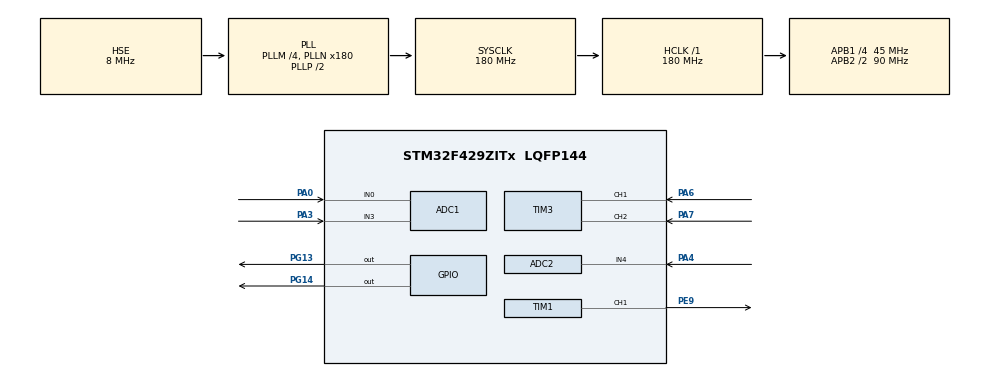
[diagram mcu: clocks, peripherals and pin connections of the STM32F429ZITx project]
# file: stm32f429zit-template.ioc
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ADC1.Channel-0\#ChannelRegularConversion=ADC_CHANNEL_0
ADC1.Channel-8\#ChannelRegularConversion=ADC_CHANNEL_3
ADC1.ContinuousConvMode=DISABLE
ADC1.DMAContinuousRequests=ENABLE
ADC1.EOCSelection=ADC_EOC_SINGLE_CONV
ADC1.ExternalTrigConv=ADC_EXTERNALTRIGCONV_T2_CC2
ADC1.ExternalTrigConvEdge=ADC_EXTERNALTRIGCONVEDGE_FALLING
ADC1.NbrOfConversion=2
ADC1.NbrOfConversionFlag=1
ADC1.Rank-0\#ChannelRegularConversion=1
ADC1.Rank-8\#ChannelRegularConversion=2
ADC1.SamplingTime-0\#ChannelRegularConversion=ADC_SAMPLETIME_15CYCLES
ADC1.SamplingTime-8\#ChannelRegularConversion=ADC_SAMPLETIME_15CYCLES
ADC1.master=1
ADC2.Channel-0\#ChannelRegularConversion=ADC_CHANNEL_4
ADC2.ContinuousConvMode=ENABLE
ADC2.DMAContinuousRequests=ENABLE
ADC2.NbrOfConversionFlag=1
ADC2.Rank-0\#ChannelRegularConversion=1
ADC2.SamplingTime-0\#ChannelRegularConversion=ADC_SAMPLETIME_15CYCLES
Dma.ADC1.0.Direction=DMA_PERIPH_TO_MEMORY
Dma.ADC1.0.FIFOMode=DMA_FIFOMODE_DISABLE
Dma.ADC1.0.Instance=DMA2_Stream0
Dma.ADC1.0.MemDataAlignment=DMA_MDATAALIGN_HALFWORD
Dma.ADC1.0.MemInc=DMA_MINC_ENABLE
Dma.ADC1.0.Mode=DMA_CIRCULAR
Dma.ADC1.0.PeriphDataAlignment=DMA_PDATAALIGN_HALFWORD
Dma.ADC1.0.PeriphInc=DMA_PINC_DISABLE
Dma.ADC1.0.Priority=DMA_PRIORITY_LOW
Dma.ADC2.1.Direction=DMA_PERIPH_TO_MEMORY
Dma.ADC2.1.FIFOMode=DMA_FIFOMODE_DISABLE
Dma.ADC2.1.Instance=DMA2_Stream2
Dma.ADC2.1.MemDataAlignment=DMA_MDATAALIGN_HALFWORD
Dma.ADC2.1.MemInc=DMA_MINC_ENABLE
Dma.ADC2.1.Mode=DMA_CIRCULAR
Dma.ADC2.1.PeriphDataAlignment=DMA_PDATAALIGN_HALFWORD
Dma.ADC2.1.PeriphInc=DMA_PINC_DISABLE
Dma.ADC2.1.Priority=DMA_PRIORITY_LOW
Dma.Request0=ADC1
Dma.Request1=ADC2
Mcu.Family=STM32F4
Mcu.Name=STM32F429ZITx
Mcu.Package=LQFP144
NVIC.ADC_IRQn=true\:0\:0\:false\:false\:true\:true\:true\:true
NVIC.DMA2_Stream0_IRQn=true\:0\:0\:false\:false\:true\:false\:true\:true
NVIC.DMA2_Stream2_IRQn=true\:0\:0\:false\:false\:true\:false\:true\:true
NVIC.PriorityGroup=NVIC_PRIORITYGROUP_4
NVIC.TIM2_IRQn=true\:0\:0\:false\:false\:true\:true\:true\:true
NVIC.TIM3_IRQn=true\:0\:0\:false\:false\:true\:true\:true\:true
NVIC.TIM7_IRQn=true\:0\:0\:false\:false\:true\:true\:true\:true
PA0/WKUP.Signal=ADCx_IN0
PA13.Mode=Serial_Wire
PA13.Signal=SYS_JTMS-SWDIO
PA14.Mode=Serial_Wire
PA14.Signal=SYS_JTCK-SWCLK
PA3.Signal=ADCx_IN3
PA4.Signal=ADCx_IN4
PA6.Signal=S_TIM3_CH1
PA7.Signal=S_TIM3_CH2
PE9.Signal=S_TIM1_CH1
PG13.Signal=GPIO_Output
PG14.Signal=GPIO_Output
PH0/OSC_IN.Mode=HSE-External-Oscillator
PH0/OSC_IN.Signal=RCC_OSC_IN
PH1/OSC_OUT.Mode=HSE-External-Oscillator
PH1/OSC_OUT.Signal=RCC_OSC_OUT
ProjectManager.HeapSize=0x200
ProjectManager.StackSize=0x400
ProjectManager.TargetToolchain=STM32CubeIDE
RCC.48MHZClocksFreq_Value=90000000
RCC.AHBFreq_Value=180000000
RCC.APB1CLKDivider=RCC_HCLK_DIV4
RCC.APB1Freq_Value=45000000
RCC.APB1TimFreq_Value=90000000
RCC.APB2CLKDivider=RCC_HCLK_DIV2
RCC.APB2Freq_Value=90000000
RCC.APB2TimFreq_Value=180000000
RCC.CortexFreq_Value=180000000
RCC.HCLKFreq_Value=180000000
RCC.HSE_VALUE=8000000
RCC.HSI_VALUE=16000000
RCC.LSE_VALUE=32768
RCC.PLLM=4
RCC.PLLN=180
RCC.PLLSourceVirtual=RCC_PLLSOURCE_HSE
RCC.SYSCLKFreq_VALUE=180000000
RCC.SYSCLKSource=RCC_SYSCLKSOURCE_PLLCLK
RCC.VCOOutputFreq_Value=360000000
SH.ADCx_IN0.0=ADC1_IN0,IN0
SH.ADCx_IN3.0=ADC1_IN3,IN3
SH.ADCx_IN4.0=ADC2_IN4,IN4
SH.S_TIM1_CH1.0=TIM1_CH1,PWM Generation1 CH1
SH.S_TIM3_CH1.0=TIM3_CH1,Encoder_Interface
SH.S_TIM3_CH2.0=TIM3_CH2,Encoder_Interface
TIM1.Channel-PWM\ Generation1\ CH1=TIM_CHANNEL_1
TIM1.CounterMode=TIM_COUNTERMODE_CENTERALIGNED1
TIM1.TIM_MasterOutputTrigger=TIM_TRGO_UPDATE
TIM1.TIM_MasterSlaveMode=TIM_MASTERSLAVEMODE_ENABLE
TIM2.Channel-PWM\ Generation2\ No\ Output=TIM_CHANNEL_2
TIM3.EncoderMode=TIM_ENCODERMODE_TI12
TIM3.IC1Filter=8
TIM3.IC2Filter=8
TIM7.Period=10-1
TIM7.Prescaler=8000-1
VP_TIM2_VS_ClockSourceITR.Mode=TriggerSource_ITR0
VP_TIM2_VS_ControllerModeReset.Mode=Reset Mode
VP_TIM2_VS_no_output2.Mode=PWM Generation2 No Output
VP_TIM7_VS_ClockSourceINT.Mode=Enable_Timer
board=custom

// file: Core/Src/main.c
/* USER CODE BEGIN Header */
/**
  ******************************************************************************
  * @file           : main.c
  * @brief          : Main program body
  ******************************************************************************
  * @attention
  *
  * Copyright (c) 2024 STMicroelectronics.
  * All rights reserved.
  *
  * This software is licensed under terms that can be found in the LICENSE file
  * in the root directory of this software component.
  * If no LICENSE file comes with this software, it is provided AS-IS.
  *
  ******************************************************************************
  */
/* USER CODE END Header */
#include "main.h"

/* USER CODE BEGIN PTD */
typedef struct
{
  float velocity;
  float angle;
  uint32_t capture_cnt;
  int dir;
} encoder_t;
/* USER CODE END PTD */

/* USER CODE BEGIN PD */
#define ENCODER_PPR 10
/* USER CODE END PD */

ADC_HandleTypeDef hadc1;
ADC_HandleTypeDef hadc2;
DMA_HandleTypeDef hdma_adc1;
DMA_HandleTypeDef hdma_adc2;

TIM_HandleTypeDef htim1;
TIM_HandleTypeDef htim2;
TIM_HandleTypeDef htim3;
TIM_HandleTypeDef htim7;

/* USER CODE BEGIN PV */
uint16_t adc1_values[2] = {0};
uint16_t adc2_value = 0;
uint16_t adc_sample_flag = 0;

encoder_t encoder = {0};
/* USER CODE END PV */

void SystemClock_Config(void);
static void MX_GPIO_Init(void);
static void MX_DMA_Init(void);
static void MX_TIM7_Init(void);
static void MX_TIM1_Init(void);
static void MX_ADC1_Init(void);
static void MX_ADC2_Init(void);
static void MX_TIM2_Init(void);
static void MX_TIM3_Init(void);

int main(void)
{

  /* MCU Configuration--------------------------------------------------------*/

  /* Reset of all peripherals, Initializes the Flash interface and the Systick. */
  HAL_Init();

  /* Configure the system clock */
  SystemClock_Config();

  /* Initialize all configured peripherals */
  MX_GPIO_Init();
  MX_DMA_Init();
  MX_TIM7_Init();
  MX_TIM1_Init();
  MX_ADC1_Init();
  MX_ADC2_Init();
  MX_TIM2_Init();
  MX_TIM3_Init();
  /* USER CODE BEGIN 2 */
  HAL_TIM_Base_Start_IT(&htim7);

  HAL_ADC_Start_DMA(&hadc1, (uint32_t*)adc1_values, 2);
  HAL_ADC_Start_DMA(&hadc2, (uint32_t*)&adc2_value, 1);

  TIM2->PSC = 8000 - 1;
  TIM2->CCR2 = 0xf;
  HAL_TIM_PWM_Start_IT(&htim2, TIM_CHANNEL_2);

  TIM1->PSC = 16000 - 1; // 10 KHz
  TIM1->ARR = 10000 - 1; // 1 Hz
  TIM1->CCR1 = (uint16_t)(0.25f * (float)TIM1->ARR);
  HAL_TIM_PWM_Start(&htim1, TIM_CHANNEL_1);
  /* USER CODE END 2 */

  /* Infinite loop */
  while (1)
  {

  }
}

void SystemClock_Config(void)
{
  RCC_OscInitTypeDef RCC_OscInitStruct = {0};
  RCC_ClkInitTypeDef RCC_ClkInitStruct = {0};

  /** Configure the main internal regulator output voltage
  */
  __HAL_RCC_PWR_CLK_ENABLE();
  __HAL_PWR_VOLTAGESCALING_CONFIG(PWR_REGULATOR_VOLTAGE_SCALE1);

  /** Initializes the RCC Oscillators according to the specified parameters
  * in the RCC_OscInitTypeDef structure.
  */
  RCC_OscInitStruct.OscillatorType = RCC_OSCILLATORTYPE_HSE;
  RCC_OscInitStruct.HSEState = RCC_HSE_ON;
  RCC_OscInitStruct.PLL.PLLState = RCC_PLL_ON;
  RCC_OscInitStruct.PLL.PLLSource = RCC_PLLSOURCE_HSE;
  RCC_OscInitStruct.PLL.PLLM = 4;
  RCC_OscInitStruct.PLL.PLLN = 180;
  RCC_OscInitStruct.PLL.PLLP = RCC_PLLP_DIV2;
  RCC_OscInitStruct.PLL.PLLQ = 4;
  if (HAL_RCC_OscConfig(&RCC_OscInitStruct) != HAL_OK)
  {
    Error_Handler();
  }

  /** Activate the Over-Drive mode
  */
  if (HAL_PWREx_EnableOverDrive() != HAL_OK)
  {
    Error_Handler();
  }

  /** Initializes the CPU, AHB and APB buses clocks
  */
  RCC_ClkInitStruct.ClockType = RCC_CLOCKTYPE_HCLK|RCC_CLOCKTYPE_SYSCLK
                              |RCC_CLOCKTYPE_PCLK1|RCC_CLOCKTYPE_PCLK2;
  RCC_ClkInitStruct.SYSCLKSource = RCC_SYSCLKSOURCE_PLLCLK;
  RCC_ClkInitStruct.AHBCLKDivider = RCC_SYSCLK_DIV1;
  RCC_ClkInitStruct.APB1CLKDivider = RCC_HCLK_DIV4;
  RCC_ClkInitStruct.APB2CLKDivider = RCC_HCLK_DIV2;

  if (HAL_RCC_ClockConfig(&RCC_ClkInitStruct, FLASH_LATENCY_5) != HAL_OK)
  {
    Error_Handler();
  }
}

static void MX_ADC1_Init(void)
{

  ADC_ChannelConfTypeDef sConfig = {0};

  /** Configure the global features of the ADC (Clock, Resolution, Data Alignment and number of conversion)
  */
  hadc1.Instance = ADC1;
  hadc1.Init.ClockPrescaler = ADC_CLOCK_SYNC_PCLK_DIV4;
  hadc1.Init.Resolution = ADC_RESOLUTION_12B;
  hadc1.Init.ScanConvMode = ENABLE;
  hadc1.Init.ContinuousConvMode = DISABLE;
  hadc1.Init.DiscontinuousConvMode = DISABLE;
  hadc1.Init.ExternalTrigConvEdge = ADC_EXTERNALTRIGCONVEDGE_FALLING;
  hadc1.Init.ExternalTrigConv = ADC_EXTERNALTRIGCONV_T2_CC2;
  hadc1.Init.DataAlign = ADC_DATAALIGN_RIGHT;
  hadc1.Init.NbrOfConversion = 2;
  hadc1.Init.DMAContinuousRequests = ENABLE;
  hadc1.Init.EOCSelection = ADC_EOC_SINGLE_CONV;
  if (HAL_ADC_Init(&hadc1) != HAL_OK)
  {
    Error_Handler();
  }

  /** Configure for the selected ADC regular channel its corresponding rank in the sequencer and its sample time.
  */
  sConfig.Channel = ADC_CHANNEL_0;
  sConfig.Rank = 1;
  sConfig.SamplingTime = ADC_SAMPLETIME_15CYCLES;
  if (HAL_ADC_ConfigChannel(&hadc1, &sConfig) != HAL_OK)
  {
    Error_Handler();
  }

  /** Configure for the selected ADC regular channel its corresponding rank in the sequencer and its sample time.
  */
  sConfig.Channel = ADC_CHANNEL_3;
  sConfig.Rank = 2;
  if (HAL_ADC_ConfigChannel(&hadc1, &sConfig) != HAL_OK)
  {
    Error_Handler();
  }

}

static void MX_ADC2_Init(void)
{

  ADC_ChannelConfTypeDef sConfig = {0};

  /** Configure the global features of the ADC (Clock, Resolution, Data Alignment and number of conversion)
  */
  hadc2.Instance = ADC2;
  hadc2.Init.ClockPrescaler = ADC_CLOCK_SYNC_PCLK_DIV4;
  hadc2.Init.Resolution = ADC_RESOLUTION_12B;
  hadc2.Init.ScanConvMode = DISABLE;
  hadc2.Init.ContinuousConvMode = ENABLE;
  hadc2.Init.DiscontinuousConvMode = DISABLE;
  hadc2.Init.ExternalTrigConvEdge = ADC_EXTERNALTRIGCONVEDGE_NONE;
  hadc2.Init.ExternalTrigConv = ADC_SOFTWARE_START;
  hadc2.Init.DataAlign = ADC_DATAALIGN_RIGHT;
  hadc2.Init.NbrOfConversion = 1;
  hadc2.Init.DMAContinuousRequests = ENABLE;
  hadc2.Init.EOCSelection = ADC_EOC_SINGLE_CONV;
  if (HAL_ADC_Init(&hadc2) != HAL_OK)
  {
    Error_Handler();
  }

  /** Configure for the selected ADC regular channel its corresponding rank in the sequencer and its sample time.
  */
  sConfig.Channel = ADC_CHANNEL_4;
  sConfig.Rank = 1;
  sConfig.SamplingTime = ADC_SAMPLETIME_15CYCLES;
  if (HAL_ADC_ConfigChannel(&hadc2, &sConfig) != HAL_OK)
  {
    Error_Handler();
  }

}

static void MX_TIM1_Init(void)
{

  TIM_MasterConfigTypeDef sMasterConfig = {0};
  TIM_OC_InitTypeDef sConfigOC = {0};
  TIM_BreakDeadTimeConfigTypeDef sBreakDeadTimeConfig = {0};

  htim1.Instance = TIM1;
  htim1.Init.Prescaler = 0;
  htim1.Init.CounterMode = TIM_COUNTERMODE_CENTERALIGNED1;
  htim1.Init.Period = 65535;
  htim1.Init.ClockDivision = TIM_CLOCKDIVISION_DIV1;
  htim1.Init.RepetitionCounter = 0;
  htim1.Init.AutoReloadPreload = TIM_AUTORELOAD_PRELOAD_DISABLE;
  if (HAL_TIM_PWM_Init(&htim1) != HAL_OK)
  {
    Error_Handler();
  }
  sMasterConfig.MasterOutputTrigger = TIM_TRGO_UPDATE;
  sMasterConfig.MasterSlaveMode = TIM_MASTERSLAVEMODE_ENABLE;
  if (HAL_TIMEx_MasterConfigSynchronization(&htim1, &sMasterConfig) != HAL_OK)
  {
    Error_Handler();
  }
  sConfigOC.OCMode = TIM_OCMODE_PWM1;
  sConfigOC.Pulse = 0;
  sConfigOC.OCPolarity = TIM_OCPOLARITY_HIGH;
  sConfigOC.OCNPolarity = TIM_OCNPOLARITY_HIGH;
  sConfigOC.OCFastMode = TIM_OCFAST_DISABLE;
  sConfigOC.OCIdleState = TIM_OCIDLESTATE_RESET;
  sConfigOC.OCNIdleState = TIM_OCNIDLESTATE_RESET;
  if (HAL_TIM_PWM_ConfigChannel(&htim1, &sConfigOC, TIM_CHANNEL_1) != HAL_OK)
  {
    Error_Handler();
  }
  sBreakDeadTimeConfig.OffStateRunMode = TIM_OSSR_DISABLE;
  sBreakDeadTimeConfig.OffStateIDLEMode = TIM_OSSI_DISABLE;
  sBreakDeadTimeConfig.LockLevel = TIM_LOCKLEVEL_OFF;
  sBreakDeadTimeConfig.DeadTime = 0;
  sBreakDeadTimeConfig.BreakState = TIM_BREAK_DISABLE;
  sBreakDeadTimeConfig.BreakPolarity = TIM_BREAKPOLARITY_HIGH;
  sBreakDeadTimeConfig.AutomaticOutput = TIM_AUTOMATICOUTPUT_DISABLE;
  if (HAL_TIMEx_ConfigBreakDeadTime(&htim1, &sBreakDeadTimeConfig) != HAL_OK)
  {
    Error_Handler();
  }
  HAL_TIM_MspPostInit(&htim1);

}

static void MX_TIM2_Init(void)
{

  TIM_SlaveConfigTypeDef sSlaveConfig = {0};
  TIM_MasterConfigTypeDef sMasterConfig = {0};
  TIM_OC_InitTypeDef sConfigOC = {0};

  htim2.Instance = TIM2;
  htim2.Init.Prescaler = 0;
  htim2.Init.CounterMode = TIM_COUNTERMODE_UP;
  htim2.Init.Period = 4294967295;
  htim2.Init.ClockDivision = TIM_CLOCKDIVISION_DIV1;
  htim2.Init.AutoReloadPreload = TIM_AUTORELOAD_PRELOAD_DISABLE;
  if (HAL_TIM_Base_Init(&htim2) != HAL_OK)
  {
    Error_Handler();
  }
  if (HAL_TIM_PWM_Init(&htim2) != HAL_OK)
  {
    Error_Handler();
  }
  sSlaveConfig.SlaveMode = TIM_SLAVEMODE_RESET;
  sSlaveConfig.InputTrigger = TIM_TS_ITR0;
  if (HAL_TIM_SlaveConfigSynchro(&htim2, &sSlaveConfig) != HAL_OK)
  {
    Error_Handler();
  }
  sMasterConfig.MasterOutputTrigger = TIM_TRGO_RESET;
  sMasterConfig.MasterSlaveMode = TIM_MASTERSLAVEMODE_DISABLE;
  if (HAL_TIMEx_MasterConfigSynchronization(&htim2, &sMasterConfig) != HAL_OK)
  {
    Error_Handler();
  }
  sConfigOC.OCMode = TIM_OCMODE_PWM1;
  sConfigOC.Pulse = 0;
  sConfigOC.OCPolarity = TIM_OCPOLARITY_HIGH;
  sConfigOC.OCFastMode = TIM_OCFAST_DISABLE;
  if (HAL_TIM_PWM_ConfigChannel(&htim2, &sConfigOC, TIM_CHANNEL_2) != HAL_OK)
  {
    Error_Handler();
  }

}

static void MX_TIM3_Init(void)
{

  TIM_Encoder_InitTypeDef sConfig = {0};
  TIM_MasterConfigTypeDef sMasterConfig = {0};

  htim3.Instance = TIM3;
  htim3.Init.Prescaler = 0;
  htim3.Init.CounterMode = TIM_COUNTERMODE_UP;
  htim3.Init.Period = 65535;
  htim3.Init.ClockDivision = TIM_CLOCKDIVISION_DIV1;
  htim3.Init.AutoReloadPreload = TIM_AUTORELOAD_PRELOAD_DISABLE;
  sConfig.EncoderMode = TIM_ENCODERMODE_TI12;
  sConfig.IC1Polarity = TIM_ICPOLARITY_RISING;
  sConfig.IC1Selection = TIM_ICSELECTION_DIRECTTI;
  sConfig.IC1Prescaler = TIM_ICPSC_DIV1;
  sConfig.IC1Filter = 8;
  sConfig.IC2Polarity = TIM_ICPOLARITY_RISING;
  sConfig.IC2Selection = TIM_ICSELECTION_DIRECTTI;
  sConfig.IC2Prescaler = TIM_ICPSC_DIV1;
  sConfig.IC2Filter = 8;
  if (HAL_TIM_Encoder_Init(&htim3, &sConfig) != HAL_OK)
  {
    Error_Handler();
  }
  sMasterConfig.MasterOutputTrigger = TIM_TRGO_RESET;
  sMasterConfig.MasterSlaveMode = TIM_MASTERSLAVEMODE_DISABLE;
  if (HAL_TIMEx_MasterConfigSynchronization(&htim3, &sMasterConfig) != HAL_OK)
  {
    Error_Handler();
  }

}

static void MX_TIM7_Init(void)
{

  TIM_MasterConfigTypeDef sMasterConfig = {0};

  htim7.Instance = TIM7;
  htim7.Init.Prescaler = 8000-1;
  htim7.Init.CounterMode = TIM_COUNTERMODE_UP;
  htim7.Init.Period = 10-1;
  htim7.Init.AutoReloadPreload = TIM_AUTORELOAD_PRELOAD_DISABLE;
  if (HAL_TIM_Base_Init(&htim7) != HAL_OK)
  {
    Error_Handler();
  }
  sMasterConfig.MasterOutputTrigger = TIM_TRGO_RESET;
  sMasterConfig.MasterSlaveMode = TIM_MASTERSLAVEMODE_DISABLE;
  if (HAL_TIMEx_MasterConfigSynchronization(&htim7, &sMasterConfig) != HAL_OK)
  {
    Error_Handler();
  }

}

static void MX_DMA_Init(void)
{

  /* DMA controller clock enable */
  __HAL_RCC_DMA2_CLK_ENABLE();

  /* DMA interrupt init */
  /* DMA2_Stream0_IRQn interrupt configuration */
  HAL_NVIC_SetPriority(DMA2_Stream0_IRQn, 0, 0);
  HAL_NVIC_EnableIRQ(DMA2_Stream0_IRQn);
  /* DMA2_Stream2_IRQn interrupt configuration */
  HAL_NVIC_SetPriority(DMA2_Stream2_IRQn, 0, 0);
  HAL_NVIC_EnableIRQ(DMA2_Stream2_IRQn);

}

static void MX_GPIO_Init(void)
{
  GPIO_InitTypeDef GPIO_InitStruct = {0};

  /* GPIO Ports Clock Enable */
  __HAL_RCC_GPIOH_CLK_ENABLE();
  __HAL_RCC_GPIOA_CLK_ENABLE();
  __HAL_RCC_GPIOE_CLK_ENABLE();
  __HAL_RCC_GPIOG_CLK_ENABLE();

  /*Configure GPIO pin Output Level */
  HAL_GPIO_WritePin(GPIOG, GPIO_PIN_13|GPIO_PIN_14, GPIO_PIN_RESET);

  /*Configure GPIO pins : PG13 PG14 */
  GPIO_InitStruct.Pin = GPIO_PIN_13|GPIO_PIN_14;
  GPIO_InitStruct.Mode = GPIO_MODE_OUTPUT_PP;
  GPIO_InitStruct.Pull = GPIO_NOPULL;
  GPIO_InitStruct.Speed = GPIO_SPEED_FREQ_LOW;
  HAL_GPIO_Init(GPIOG, &GPIO_InitStruct);

}

/* USER CODE BEGIN 4 */
void HAL_TIM_IC_CaptureCallback(TIM_HandleTypeDef *htim)
{
  if (htim == &htim3)
  {
    if (htim3.Channel == HAL_TIM_ACTIVE_CHANNEL_1)
    {
      encoder.capture_cnt++;
      if (TIM3->CR1 & TIM_CR1_DIR)
      {
        encoder.dir = -1;
      }
      else
      {
        encoder.dir = 1;
      }
    }
  }
}

void HAL_TIM_PeriodElapsedCallback(TIM_HandleTypeDef *htim)
{
  // Этот обратный вызов автоматически вызывается HAL при возникновении события UEV
  // Передача управления HAL, который обрабатывает IRQ
  static uint32_t enc_capture_cnt_prev = 0;
  static uint32_t enc_cutback_cnt = 0;
  if (htim == &htim7) {
	  if (enc_cutback_cnt++ >= 1000)
	  {
		  encoder.velocity = 0.0f;
		  enc_cutback_cnt = 0;
	  }

	  if (encoder.capture_cnt != enc_capture_cnt_prev)
	  {
		  const float angle_per_pulse = (2.0f * PI) / (float)ENCODER_PPR;
		  int32_t enc_capture_diff = abs(encoder.capture_cnt - enc_capture_cnt_prev);
		  encoder.velocity = (float)encoder.dir * ((float)enc_capture_diff * angle_per_pulse) / ((float)enc_cutback_cnt / 1000.0f);
		  enc_capture_cnt_prev = encoder.capture_cnt;
		  enc_cutback_cnt = 0;
	  }

  }
}

void HAL_ADC_ConvCpltCallback(ADC_HandleTypeDef *hadc) {

	if (hadc == &hadc1) {
		if (!(TIM1->CR1 & TIM_CR1_DIR)) {
			adc_sample_flag = (adc_sample_flag == 0) ? (0xfff + 0xff) : 0;
		}
	} else if (hadc == &hadc2) {

	}
}
/* USER CODE END 4 */

void Error_Handler(void)
{
  __disable_irq();
  while (1)
  {
  }
}
